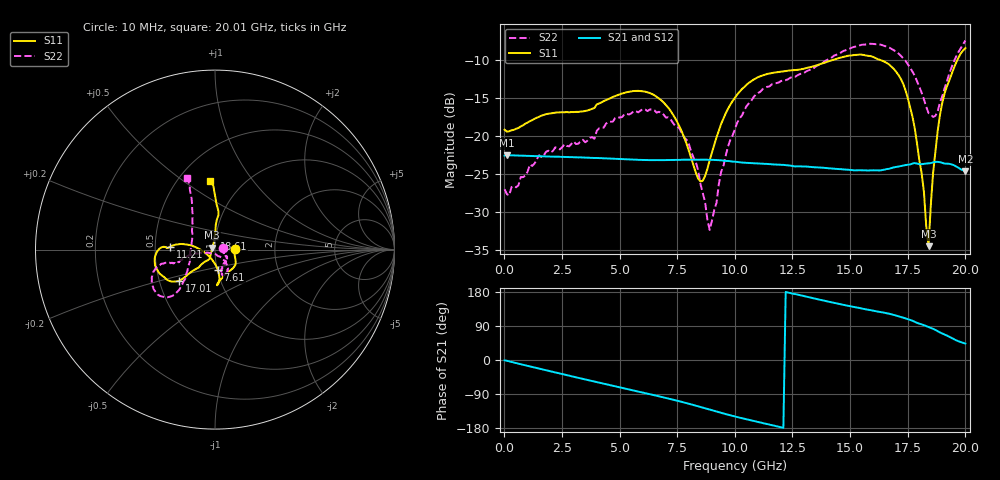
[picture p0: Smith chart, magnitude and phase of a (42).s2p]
! Hittite Microwave Corporation
! 2 Elizabeth Drive
! Chelmsford, MA 01824
! http://www.hittite.com
! Tel: 978-250-3343
! Fax: 978-250-3373
! Device:  HMC424LP3
! Description: 0.5 dB GaAs MMIC 6-Bit Digital Attenuator
! Frequency:  DC -  13.00 GHz
! Package:  LP3  - 3x3 mm Quad Flatpack No-Lead (QFN) Plastic Package: 16 pin
! Ports:  2 RF, 7 DC
!  Pad  1  = Ground
!  Pad  2  = RF IN  = Port 1
!  Pad  3  = Ground
!  Pad  4  = V6
!  Pad  5  = V5
!  Pad  6  = V4
!  Pad  7  = V3
!  Pad  8  = V2
!  Pad  9  = V1
!  Pad 10  = Ground
!  Pad 11  = RF OUT  = Port 2
!  Pad 12  = Ground
!  Pad 15  = VEE
! Control:  -5 Volt control voltage
! State:  40
! Attenuation:  20.0 dB
! Voltages:  Vdd = -5.00 Volts  Idd =  -2.270 mA
!  V1  = 0.00 Volts  I1  =  29.0 uA
!  V2  = 0.00 Volts  I2  =  29.0 uA
!  V3  = 0.00 Volts  I3  =  29.0 uA
!  V4  = -5.00 Volts  I4  =  -1.0 uA
!  V5  = 0.00 Volts  I5  =  29.0 uA
!  V6  = -5.00 Volts  I6  =  -1.0 uA
! Data:  The device was measured on evaluation board 105354-1.
!  Data was collected using a calibrated network analyzer.
!  The evaluation circuit board was modeled and simulated.  This was use
!  to removed the evaluation board circuit from the measured data.
!  The reference plane is the edge of the package pin.
! Misc:  Lot xxxx, Unit 1
!  Application 20120001, Data collected in Application 20090083
! Date Measured:  2009-09-15
! Date:  2012-05-14  MJV
! Note:
!  Hittite supplies this data as a sample of measured data at the package pin
!  for this product.  Your particular data for this product may vary.
!  Data was taken at 25 degrees C.
!  Hittite reserves the right to change this data at anytime.
# GHz S MA R 50
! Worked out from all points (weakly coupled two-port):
!   201 points, 10 MHz to 20.01 GHz, reference 50 ohm
!   highest |S21| = -22.53 dB at 110 MHz (marker M1); lowest = -24.7 dB at 20.01 GHz (marker M2)
!   lowest |S11| = -34.5 dB at 18.41 GHz (marker M3), VSWR 1.04, Z = 48.5 + j1.01 ohm
!   |S11| at or under -10 dB: start of sweep to 14.21 GHz; 16.36 GHz to 19.65 GHz (3.289 GHz wide, 18.3 % of centre)
!   |S22| runs from -32.4 to -7.4 dB; largest |S21 - S12| = 0.00065
!   S11 on the Smith chart (normalised r, x): 10 MHz: 1.25, +0.01; 7.61 GHz: 1.01, -0.23; 11.21 GHz: 0.60, +0.02; 17.01 GHz: 0.63, -0.24; 18.61 GHz: 0.99, +0.11; 20.01 GHz: 0.71, +0.64
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0.01  0.1102 2.6  0.07436 -1.0  0.07499 -0.9  0.04457 8.7
0.11  0.107 -3.0  0.07477 -2.0  0.07463 -2.2  0.04129 0.5
1.51  0.1341 -30.9  0.07357 -22.8  0.07348 -22.8  0.07464 -29.5
3.41  0.1456 -62.0  0.07218 -49.9  0.07201 -49.9  0.09454 -54.2
5.51  0.1977 -86.9  0.06995 -79.3  0.06985 -79.3  0.1413 -74.8
6.71  0.1772 -82.6  0.06937 -95.8  0.06924 -95.8  0.1447 -63.7
7.61  0.115 -81.9  0.06965 -109.1  0.06952 -109.1  0.1115 -51.9
8.51  0.05017 -131.0  0.06981 -123.9  0.06972 -123.9  0.04831 -54.5
8.91  0.06919 -172.8  0.06966 -130.8  0.06966 -130.8  0.02399 -104.5
9.41  0.1205 171.2  0.06918 -139.6  0.069 -139.5  0.0582 -159.3
10.01  0.1795 170.1  0.06777 -149.0  0.06765 -149.1  0.1119 -168.7
11.21  0.2516 176.5  0.06566 -166.3  0.06555 -166.3  0.2042 -162.7
13.41  0.2889 176.9  0.0623 163.0  0.06217 163.0  0.28 -164.8
15.11  0.3421 -169.2  0.05951 140.7  0.05937 140.6  0.3856 -156.2
16.71  0.2962 -142.9  0.0609 122.0  0.06079 122.0  0.384 -136.0
17.01  0.2651 -139.2  0.06261 117.1  0.06252 117.1  0.3608 -133.5
17.81  0.113 -132.6  0.06636 100.9  0.06614 101.0  0.2514 -134.5
18.21  0.04293 -126.2  0.06555 92.0  0.06539 92.0  0.1747 -148.2
18.41  0.01874 146.4  0.06605 87.1  0.06591 87.2  0.1419 -165.5
18.61  0.05757 93.4  0.06708 82.3  0.06699 82.3  0.1336 173.5
19.11  0.1921 84.3  0.06583 67.1  0.06574 67.1  0.208 127.3
20.01  0.3813 93.8  0.05844 43.4  0.05865 43.5  0.4282 111.2
